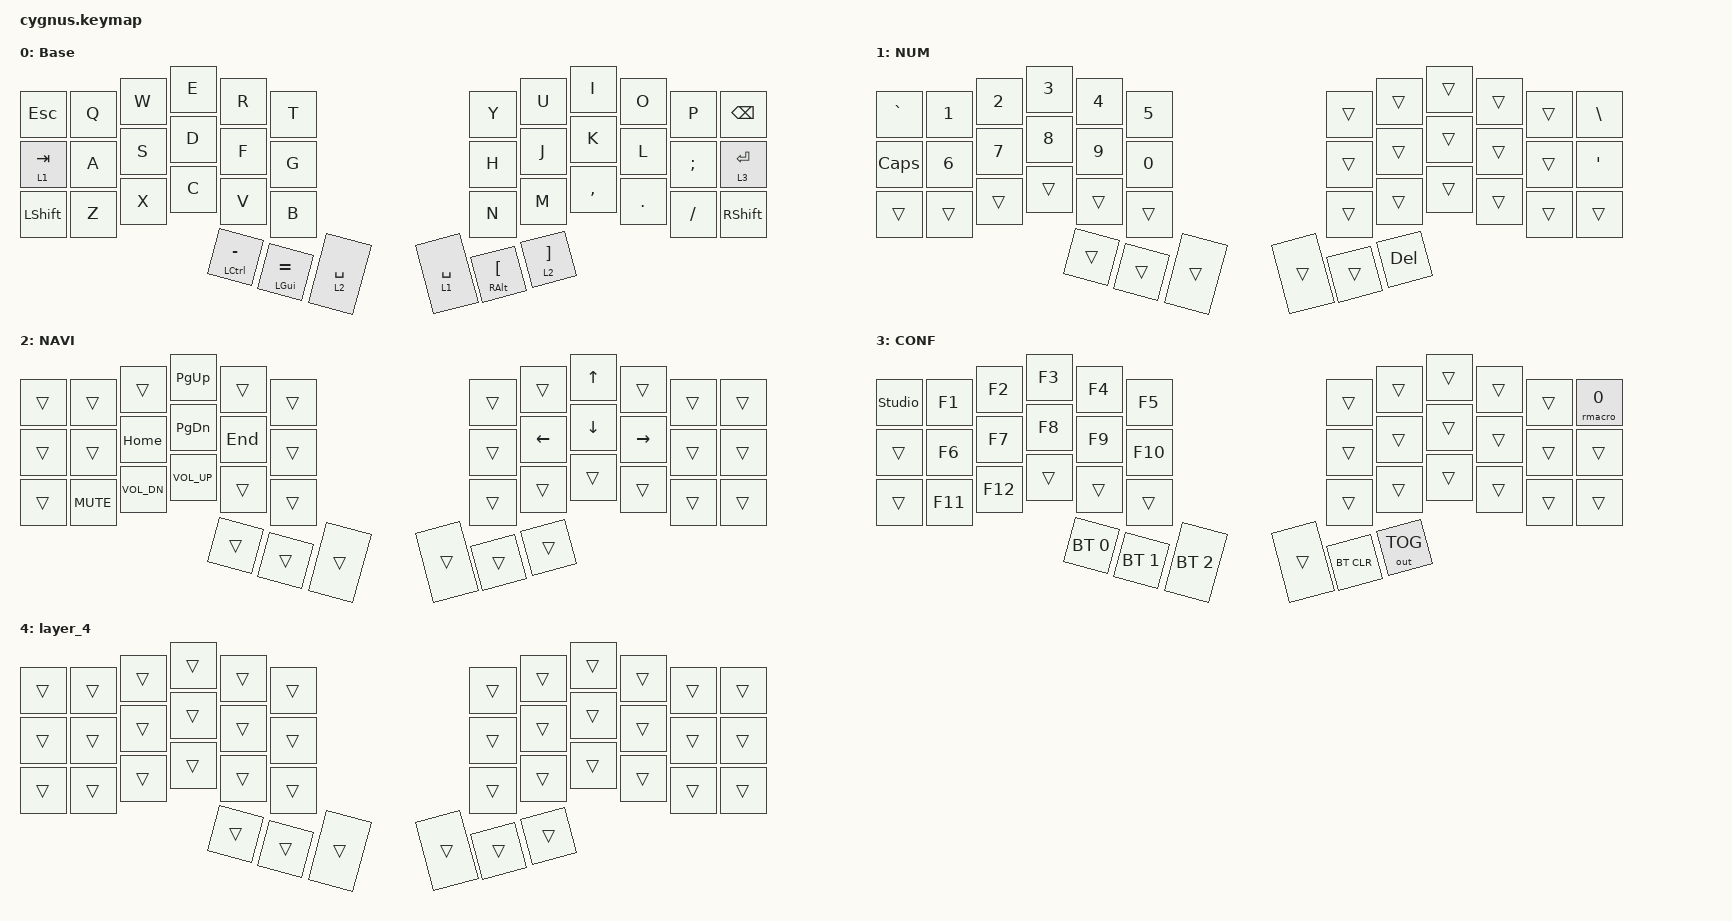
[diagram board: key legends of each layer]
#include <behaviors/runtime_macro.dtsi>
#include <behaviors.dtsi>
#include <dt-bindings/zmk/bt.h>
#include <dt-bindings/zmk/keys.h>
#include <dt-bindings/zmk/outputs.h>

/ {
    keymap {
        compatible = "zmk,keymap";

        layer_0 {
            display-name = "Base";
            bindings = <
&kp ESC    &kp Q  &kp W  &kp E            &kp R           &kp T        &kp Y        &kp U          &kp I       &kp O    &kp P     &kp BSPC
&lt 1 TAB  &kp A  &kp S  &kp D            &kp F           &kp G        &kp H        &kp J          &kp K       &kp L    &kp SEMI  &lt 3 ENTER
&kp LSHFT  &kp Z  &kp X  &kp C            &kp V           &kp B        &kp N        &kp M          &kp COMMA   &kp DOT  &kp FSLH  &kp RSHFT
                         &mt LCTRL MINUS  &mt LGUI EQUAL  &lt 2 SPACE  &lt 1 SPACE  &mt RALT LBKT  &lt 2 RBKT
            >;
        };

        layer_1 {
            bindings = <
&kp GRAVE  &kp N1  &kp N2  &kp N3  &kp N4  &kp N5  &trans  &trans  &trans   &trans  &trans  &kp BSLH
&kp CAPS   &kp N6  &kp N7  &kp N8  &kp N9  &kp N0  &trans  &trans  &trans   &trans  &trans  &kp APOS
&trans     &trans  &trans  &trans  &trans  &trans  &trans  &trans  &trans   &trans  &trans  &trans
                           &trans  &trans  &trans  &trans  &trans  &kp DEL
            >;

            label = "NUM";
        };

        layer_2 {
            bindings = <
&trans  &trans      &trans        &kp PG_UP     &trans   &trans  &trans  &trans    &kp UP    &trans     &trans  &trans
&trans  &trans      &kp HOME      &kp PG_DN     &kp END  &trans  &trans  &kp LEFT  &kp DOWN  &kp RIGHT  &trans  &trans
&trans  &kp C_MUTE  &kp C_VOL_DN  &kp C_VOL_UP  &trans   &trans  &trans  &trans    &trans    &trans     &trans  &trans
                                  &trans        &trans   &trans  &trans  &trans    &trans
            >;

            label = "NAVI";
        };

        layer_3 {
            bindings = <
&studio_unlock  &kp F1   &kp F2   &kp F3        &kp F4        &kp F5        &trans           &trans           &trans           &trans           &trans           &rmacro 0
&trans          &kp F6   &kp F7   &kp F8        &kp F9        &kp F10       &trans           &trans           &trans           &trans           &trans           &trans
&trans          &kp F11  &kp F12  &trans        &trans        &trans        &trans           &trans           &trans           &trans           &trans           &trans
                                  &bt BT_SEL 0  &bt BT_SEL 1  &bt BT_SEL 2  &trans           &bt BT_CLR       &out OUT_TOG
            >;

            label = "CONF";
        };

        layer_4 {
            bindings = <
&trans  &trans  &trans  &trans  &trans  &trans  &trans  &trans  &trans  &trans  &trans  &trans
&trans  &trans  &trans  &trans  &trans  &trans  &trans  &trans  &trans  &trans  &trans  &trans
&trans  &trans  &trans  &trans  &trans  &trans  &trans  &trans  &trans  &trans  &trans  &trans
                        &trans  &trans  &trans  &trans  &trans  &trans
            >;
        };
    };
};
